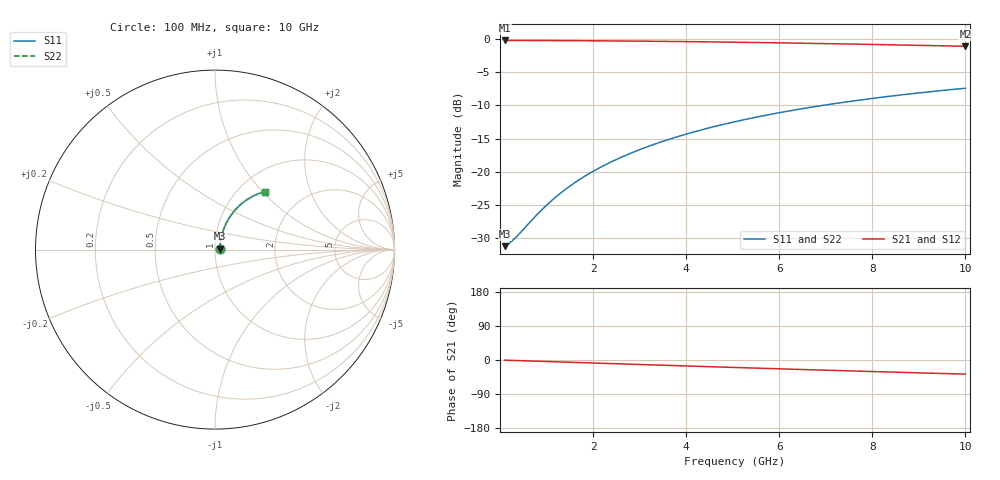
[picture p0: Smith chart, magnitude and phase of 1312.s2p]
# Hz S RI R 50.00
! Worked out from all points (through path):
!   100 points, 100 MHz to 10 GHz, reference 50 ohm
!   highest |S21| = -0.24 dB at 100 MHz (marker M1); lowest = -1.1 dB at 10 GHz (marker M2)
!   group delay of S21, straight-line fit = 10.4 ps
!   lowest |S11| = -31.2 dB at 100 MHz (marker M3), VSWR 1.06, Z = 52.8 + j0.496 ohm
!   |S11| at or under -10 dB: start of sweep to 6.935 GHz
!   |S22| runs from -31.2 to -7.4 dB; largest |S21 - S12| = 0
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1e8  0.0273 0.00469  0.9727 -0.00676  0.9727 -0.00676  0.0273 0.00469
2e8  0.0276 0.00938  0.9724 -0.0135  0.9724 -0.0135  0.0276 0.00938
3e8  0.0279 0.0141  0.9721 -0.0203  0.9721 -0.0203  0.0279 0.0141
4e8  0.0282 0.0187  0.9718 -0.027  0.9718 -0.027  0.0282 0.0187
8e8  0.0301 0.0374  0.9698 -0.0539  0.9698 -0.0539  0.0301 0.0374
1.1e9  0.0321 0.0513  0.9677 -0.074  0.9677 -0.074  0.0321 0.0513
1.4e9  0.0346 0.0651  0.9649 -0.094  0.9649 -0.094  0.0346 0.0651
1.6e9  0.0366 0.0742  0.9628 -0.1072  0.9628 -0.1072  0.0366 0.0742
1.8e9  0.0389 0.0832  0.9604 -0.1204  0.9604 -0.1204  0.0389 0.0832
2.1e9  0.0427 0.0966  0.9563 -0.14  0.9563 -0.14  0.0427 0.0966
2.5e9  0.0486 0.1141  0.95 -0.1658  0.95 -0.1658  0.0486 0.1141
2.9e9  0.0555 0.1312  0.9426 -0.1912  0.9426 -0.1912  0.0555 0.1312
3.4e9  0.0653 0.1519  0.9322 -0.2223  0.9322 -0.2223  0.0653 0.1519
3.8e9  0.074 0.1678  0.9228 -0.2465  0.9228 -0.2465  0.074 0.1678
4.2e9  0.0836 0.1832  0.9125 -0.2702  0.9125 -0.2702  0.0836 0.1832
4.6e9  0.0938 0.1979  0.9015 -0.2932  0.9015 -0.2932  0.0938 0.1979
5.1e9  0.1076 0.2153  0.8866 -0.3211  0.8866 -0.3211  0.1076 0.2153
5.9e9  0.1316 0.2409  0.8606 -0.3634  0.8606 -0.3634  0.1316 0.2409
6.7e9  0.1577 0.2634  0.8323 -0.4027  0.8323 -0.4027  0.1577 0.2634
7.5e9  0.1853 0.2827  0.8022 -0.4389  0.8022 -0.4389  0.1853 0.2827
8.4e9  0.2177 0.3007  0.7665 -0.476  0.7665 -0.476  0.2177 0.3007
1e10  0.2772 0.3228  0.7001 -0.5322  0.7001 -0.5322  0.2772 0.3228
